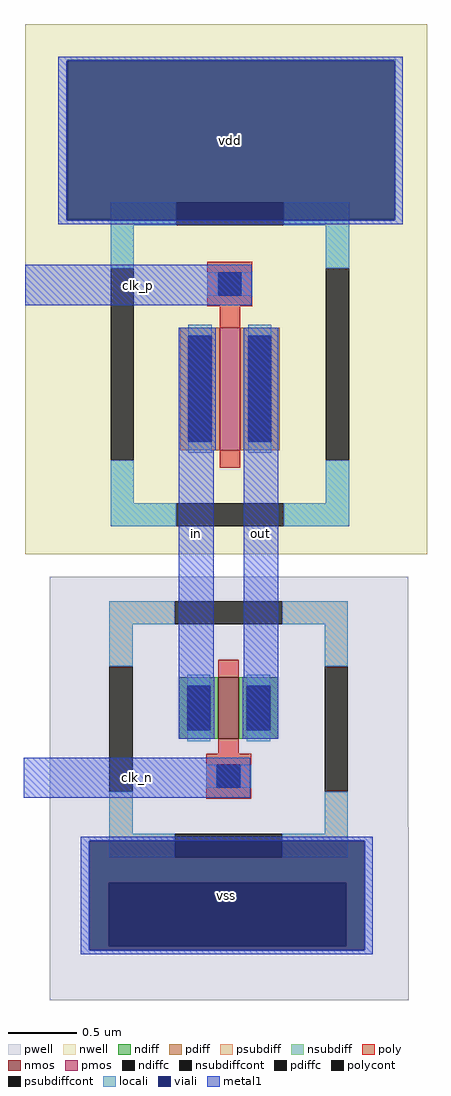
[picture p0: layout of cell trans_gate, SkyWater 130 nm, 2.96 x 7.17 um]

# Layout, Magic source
magic
tech sky130A
magscale 1 2
<< nwell >>
rect -155 -46 436 733
<< pwell >>
rect -119 -447 408 -79
rect -119 -701 409 -447
<< psubdiff >>
rect -61 -529 344 -467
rect -61 -622 -32 -529
rect 317 -622 344 -529
rect -61 -628 344 -622
<< nsubdiff >>
rect -92 446 390 681
<< psubdiffcont >>
rect -32 -622 317 -529
<< viali >>
rect -94 445 388 679
rect -61 -529 344 -467
rect -61 -622 -32 -529
rect -32 -622 317 -529
rect 317 -622 344 -529
rect -61 -628 344 -622
<< metal1 >>
rect -106 679 400 685
rect -106 445 -94 679
rect 388 445 400 679
rect -106 439 400 445
rect -155 320 178 379
rect 71 -317 122 287
rect 166 -317 217 287
rect -157 -404 176 -345
rect -73 -467 356 -461
rect -73 -628 -61 -467
rect 344 -628 356 -467
rect -73 -634 356 -628
use sky130_fd_pr__nfet_01v8_UVCFM7  sky130_fd_pr__nfet_01v8_UVCFM7_0
transform 1 0 144 0 1 -303
box -211 -224 211 224
use sky130_fd_pr__pfet_01v8_H4M7SM  sky130_fd_pr__pfet_01v8_H4M7SM_0
transform 1 0 146 0 1 233
box -211 -274 211 274
<< labels >>
rlabel pwell -61 -628 344 -467 1 vss
rlabel metal1 -157 -404 176 -345 1 clk_n
rlabel metal1 71 -317 122 287 1 in
rlabel metal1 166 -317 217 287 1 out
rlabel metal1 -155 320 178 379 1 clk_p
rlabel viali -94 445 388 679 1 vdd
<< end >>

# cell sky130_fd_pr__nfet_01v8_UVCFM7: kit device sky130_fd_pr__nfet_01v8, w 0.45 l 0.150 m 1 nf 1 diffcov 100 polycov 100 guard 1 glc 1 grc 1 gtc 1 gbc 1 tbcov 100 rlcov 100 topc 0 botc 1 poverlap 0 doverlap 1 lmin 0.15 wmin 0.42 compatible {sky130_fd_pr__nfet_01v8 sky130_fd_pr__nfet_01v8_lvt sky130_fd_bs_flash__special_sonosfet_star sky130_fd_pr__nfet_g5v0d10v5 sky130_fd_pr__nfet_05v0_nvt} full_metal 1 viasrc 100 viadrn 100 viagate 100 viagb 0 viagr 0 viagl 0 viagt 0

# cell sky130_fd_pr__pfet_01v8_H4M7SM: kit device sky130_fd_pr__pfet_01v8, w 0.9 l 0.15 m 1 nf 1 diffcov 100 polycov 100 guard 1 glc 1 grc 1 gtc 1 gbc 1 tbcov 100 rlcov 100 topc 1 botc 0 poverlap 0 doverlap 1 lmin 0.15 wmin 0.42 compatible {sky130_fd_pr__pfet_01v8 sky130_fd_pr__pfet_01v8_lvt sky130_fd_pr__pfet_01v8_hvt sky130_fd_pr__pfet_g5v0d10v5} full_metal 1 viagl 0 viagr 0 viagt 0 viagb 0 viagate 100 viadrn 100 viasrc 100
